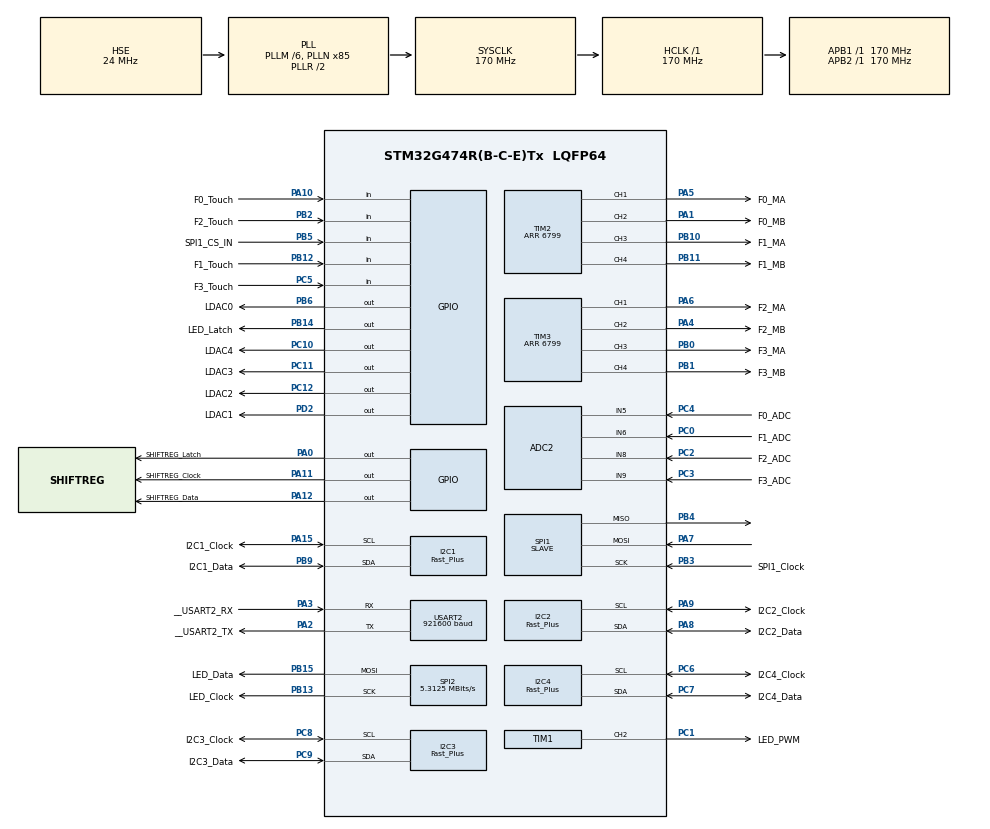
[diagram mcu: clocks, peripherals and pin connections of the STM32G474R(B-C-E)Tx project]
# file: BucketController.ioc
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ADC2.Channel-1\#ChannelRegularConversion=ADC_CHANNEL_5
ADC2.Channel-2\#ChannelRegularConversion=ADC_CHANNEL_6
ADC2.Channel-3\#ChannelRegularConversion=ADC_CHANNEL_8
ADC2.Channel-4\#ChannelRegularConversion=ADC_CHANNEL_9
ADC2.ClockPrescaler=ADC_CLOCK_ASYNC_DIV256
ADC2.ContinuousConvMode=ENABLE
ADC2.DMAContinuousRequests=DISABLE
ADC2.NbrOfConversion=4
ADC2.NbrOfConversionFlag=1
ADC2.OffsetNumber-1\#ChannelRegularConversion=ADC_OFFSET_NONE
ADC2.OffsetNumber-2\#ChannelRegularConversion=ADC_OFFSET_NONE
ADC2.OffsetNumber-3\#ChannelRegularConversion=ADC_OFFSET_NONE
ADC2.OffsetNumber-4\#ChannelRegularConversion=ADC_OFFSET_NONE
ADC2.Rank-1\#ChannelRegularConversion=1
ADC2.Rank-2\#ChannelRegularConversion=2
ADC2.Rank-3\#ChannelRegularConversion=3
ADC2.Rank-4\#ChannelRegularConversion=4
ADC2.SamplingTime-1\#ChannelRegularConversion=ADC_SAMPLETIME_2CYCLES_5
ADC2.SamplingTime-2\#ChannelRegularConversion=ADC_SAMPLETIME_2CYCLES_5
ADC2.SamplingTime-3\#ChannelRegularConversion=ADC_SAMPLETIME_2CYCLES_5
ADC2.SamplingTime-4\#ChannelRegularConversion=ADC_SAMPLETIME_2CYCLES_5
Dma.Request0=SPI2_TX
Dma.SPI2_TX.0.Direction=DMA_MEMORY_TO_PERIPH
Dma.SPI2_TX.0.EventEnable=DISABLE
Dma.SPI2_TX.0.Instance=DMA1_Channel1
Dma.SPI2_TX.0.MemDataAlignment=DMA_MDATAALIGN_BYTE
Dma.SPI2_TX.0.MemInc=DMA_MINC_ENABLE
Dma.SPI2_TX.0.Mode=DMA_NORMAL
Dma.SPI2_TX.0.PeriphDataAlignment=DMA_PDATAALIGN_BYTE
Dma.SPI2_TX.0.PeriphInc=DMA_PINC_DISABLE
Dma.SPI2_TX.0.Polarity=HAL_DMAMUX_REQ_GEN_RISING
Dma.SPI2_TX.0.Priority=DMA_PRIORITY_LOW
Dma.SPI2_TX.0.RequestNumber=1
Dma.SPI2_TX.0.SignalID=NONE
Dma.SPI2_TX.0.SyncEnable=DISABLE
Dma.SPI2_TX.0.SyncPolarity=HAL_DMAMUX_SYNC_NO_EVENT
Dma.SPI2_TX.0.SyncRequestNumber=1
Dma.SPI2_TX.0.SyncSignalID=NONE
FREERTOS.Tasks01=defaultTask,24,128,StartDefaultTask,Default,NULL,Dynamic,NULL,NULL
I2C1.I2C_Speed_Mode=I2C_Fast_Plus
I2C1.Timing=0x4052060F
I2C2.I2C_Speed_Mode=I2C_Fast_Plus
I2C2.Timing=0x4052060F
I2C3.I2C_Speed_Mode=I2C_Fast_Plus
I2C3.Timing=0x4052060F
I2C4.I2C_Speed_Mode=I2C_Fast_Plus
I2C4.Timing=0x4052060F
Mcu.Family=STM32G4
Mcu.Name=STM32G474R(B-C-E)Tx
Mcu.Package=LQFP64
NVIC.DMA1_Channel1_IRQn=true\:5\:0\:false\:false\:true\:true\:false\:true\:true
NVIC.PriorityGroup=NVIC_PRIORITYGROUP_4
NVIC.SPI2_IRQn=true\:5\:0\:false\:false\:true\:true\:true\:true\:true
NVIC.TIM4_IRQn=true\:5\:0\:false\:false\:true\:true\:true\:true\:true
NVIC.TIM5_IRQn=true\:5\:0\:false\:false\:true\:true\:true\:true\:true
NVIC.TIM7_DAC_IRQn=true\:5\:0\:false\:false\:true\:false\:false\:true\:true
NVIC.TimeBase=TIM7_DAC_IRQn
NVIC.TimeBaseIP=TIM7
PA0.GPIO_Label=SHIFTREG_Latch
PA0.Signal=GPIO_Output
PA1.GPIO_Label=F0_MB
PA1.GPIO_Speed=GPIO_SPEED_FREQ_HIGH
PA1.Signal=S_TIM2_CH2
PA10.GPIO_Label=F0_Touch
PA10.Signal=GPIO_Input
PA11.GPIO_Label=SHIFTREG_Clock
PA11.Signal=GPIO_Output
PA12.GPIO_Label=SHIFTREG_Data
PA12.Signal=GPIO_Output
PA13.GPIO_Label=__SWDIO
PA13.Mode=Serial_Wire
PA13.Signal=SYS_JTMS-SWDIO
PA14.GPIO_Label=__SWCLK
PA14.Mode=Serial_Wire
PA14.Signal=SYS_JTCK-SWCLK
PA15.GPIO_Label=I2C1_Clock
PA15.Mode=I2C
PA15.Signal=I2C1_SCL
PA2.GPIO_Label=__USART2_TX
PA2.Mode=Asynchronous
PA2.Signal=USART2_TX
PA3.GPIO_Label=__USART2_RX
PA3.Mode=Asynchronous
PA3.Signal=USART2_RX
PA4.GPIO_Label=F2_MB
PA4.GPIO_Speed=GPIO_SPEED_FREQ_HIGH
PA4.Signal=S_TIM3_CH2
PA5.GPIO_Label=F0_MA
PA5.GPIO_Speed=GPIO_SPEED_FREQ_HIGH
PA5.Signal=S_TIM2_CH1
PA6.GPIO_Label=F2_MA
PA6.GPIO_Speed=GPIO_SPEED_FREQ_HIGH
PA6.Signal=S_TIM3_CH1
PA7.Mode=Full_Duplex_Slave
PA7.Signal=SPI1_MOSI
PA8.GPIO_Label=I2C2_Data
PA8.Mode=I2C
PA8.Signal=I2C2_SDA
PA9.GPIO_Label=I2C2_Clock
PA9.Mode=I2C
PA9.Signal=I2C2_SCL
PB0.GPIO_Label=F3_MA
PB0.GPIO_Speed=GPIO_SPEED_FREQ_HIGH
PB0.Signal=S_TIM3_CH3
PB1.GPIO_Label=F3_MB
PB1.GPIO_Speed=GPIO_SPEED_FREQ_HIGH
PB1.Signal=S_TIM3_CH4
PB10.GPIO_Label=F1_MA
PB10.GPIO_Speed=GPIO_SPEED_FREQ_HIGH
PB10.Signal=S_TIM2_CH3
PB11.GPIO_Label=F1_MB
PB11.GPIO_Speed=GPIO_SPEED_FREQ_HIGH
PB11.Signal=S_TIM2_CH4
PB12.GPIO_Label=F1_Touch
PB12.Signal=GPIO_Input
PB13.GPIO_Label=LED_Clock
PB13.Mode=TX_Only_Simplex_Unidirect_Master
PB13.Signal=SPI2_SCK
PB14.GPIO_Label=LED_Latch
PB14.Signal=GPIO_Output
PB15.GPIO_Label=LED_Data
PB15.Mode=TX_Only_Simplex_Unidirect_Master
PB15.Signal=SPI2_MOSI
PB2.GPIO_Label=F2_Touch
PB2.Signal=GPIO_Input
PB3.GPIO_Label=SPI1_Clock
PB3.Mode=Full_Duplex_Slave
PB3.Signal=SPI1_SCK
PB4.Mode=Full_Duplex_Slave
PB4.Signal=SPI1_MISO
PB5.GPIO_Label=SPI1_CS_IN
PB5.Signal=GPIO_Input
PB6.GPIO_Label=LDAC0
PB6.Signal=GPIO_Output
PB9.GPIO_Label=I2C1_Data
PB9.Mode=I2C
PB9.Signal=I2C1_SDA
PC0.GPIO_Label=F1_ADC
PC0.Mode=IN6-Single-Ended
PC0.Signal=ADC2_IN6
PC1.GPIO_Label=LED_PWM
PC1.Signal=S_TIM1_CH2
PC10.GPIO_Label=LDAC4
PC10.Signal=GPIO_Output
PC11.GPIO_Label=LDAC3
PC11.Signal=GPIO_Output
PC12.GPIO_Label=LDAC2
PC12.Signal=GPIO_Output
PC2.GPIO_Label=F2_ADC
PC2.Mode=IN8-Single-Ended
PC2.Signal=ADC2_IN8
PC3.GPIO_Label=F3_ADC
PC3.Mode=IN9-Single-Ended
PC3.Signal=ADC2_IN9
PC4.GPIO_Label=F0_ADC
PC4.Mode=IN5-Single-Ended
PC4.Signal=ADC2_IN5
PC5.GPIO_Label=F3_Touch
PC5.Signal=GPIO_Input
PC6.GPIO_Label=I2C4_Clock
PC6.Mode=I2C
PC6.Signal=I2C4_SCL
PC7.GPIO_Label=I2C4_Data
PC7.Mode=I2C
PC7.Signal=I2C4_SDA
PC8.GPIO_Label=I2C3_Clock
PC8.Mode=I2C
PC8.Signal=I2C3_SCL
PC9.GPIO_Label=I2C3_Data
PC9.Mode=I2C
PC9.Signal=I2C3_SDA
PD2.GPIO_Label=LDAC1
PD2.Signal=GPIO_Output
PF0-OSC_IN.GPIO_Label=__OSC_IN
PF0-OSC_IN.Mode=HSE-External-Oscillator
PF0-OSC_IN.Signal=RCC_OSC_IN
PF1-OSC_OUT.GPIO_Label=__OSC_OUT
PF1-OSC_OUT.Mode=HSE-External-Oscillator
PF1-OSC_OUT.Signal=RCC_OSC_OUT
ProjectManager.HeapSize=0x200
ProjectManager.StackSize=0x400
ProjectManager.TargetToolchain=CMake
RCC.ADC12Freq_Value=170000000
RCC.ADC345Freq_Value=170000000
RCC.AHBFreq_Value=170000000
RCC.APB1Freq_Value=170000000
RCC.APB1TimFreq_Value=170000000
RCC.APB2Freq_Value=170000000
RCC.APB2TimFreq_Value=170000000
RCC.CK48CLockSelection=RCC_USBCLKSOURCE_HSI48
RCC.CortexFreq_Value=170000000
RCC.EXTERNAL_CLOCK_VALUE=12288000
RCC.HCLKFreq_Value=170000000
RCC.HSE_VALUE=24000000
RCC.HSI48_VALUE=48000000
RCC.HSI_VALUE=16000000
RCC.LSE_VALUE=32768
RCC.PLLM=RCC_PLLM_DIV6
RCC.PLLN=85
RCC.PLLP=RCC_PLLP_DIV6
RCC.PLLQ=RCC_PLLQ_DIV4
RCC.PLLSourceVirtual=RCC_PLLSOURCE_HSE
RCC.SYSCLKFreq_VALUE=170000000
RCC.SYSCLKSource=RCC_SYSCLKSOURCE_PLLCLK
RCC.USBFreq_Value=48000000
RCC.VCOOutputFreq_Value=340000000
SH.S_TIM1_CH2.0=TIM1_CH2,PWM Generation2 CH2
SH.S_TIM2_CH1.0=TIM2_CH1,PWM Generation1 CH1
SH.S_TIM2_CH2.0=TIM2_CH2,PWM Generation2 CH2
SH.S_TIM2_CH3.0=TIM2_CH3,PWM Generation3 CH3
SH.S_TIM2_CH4.0=TIM2_CH4,PWM Generation4 CH4
SH.S_TIM3_CH1.0=TIM3_CH1,PWM Generation1 CH1
SH.S_TIM3_CH2.0=TIM3_CH2,PWM Generation2 CH2
SH.S_TIM3_CH3.0=TIM3_CH3,PWM Generation3 CH3
SH.S_TIM3_CH4.0=TIM3_CH4,PWM Generation4 CH4
SPI1.Direction=SPI_DIRECTION_2LINES
SPI1.Mode=SPI_MODE_SLAVE
SPI1.VirtualType=VM_SLAVE
SPI2.BaudRatePrescaler=SPI_BAUDRATEPRESCALER_32
SPI2.CalculateBaudRate=5.3125 MBits/s
SPI2.DataSize=SPI_DATASIZE_8BIT
SPI2.Direction=SPI_DIRECTION_2LINES
SPI2.Mode=SPI_MODE_MASTER
SPI2.VirtualType=VM_MASTER
TIM1.Channel-PWM\ Generation2\ CH2=TIM_CHANNEL_2
TIM1.PeriodNoDither=6799
TIM2.Channel-PWM\ Generation1\ CH1=TIM_CHANNEL_1
TIM2.Channel-PWM\ Generation2\ CH2=TIM_CHANNEL_2
TIM2.Channel-PWM\ Generation3\ CH3=TIM_CHANNEL_3
TIM2.Channel-PWM\ Generation4\ CH4=TIM_CHANNEL_4
TIM2.OCPolarity_1=TIM_OCPOLARITY_HIGH
TIM2.OCPolarity_2=TIM_OCPOLARITY_HIGH
TIM2.PeriodNoDither=6799
TIM3.Channel-PWM\ Generation1\ CH1=TIM_CHANNEL_1
TIM3.Channel-PWM\ Generation2\ CH2=TIM_CHANNEL_2
TIM3.Channel-PWM\ Generation3\ CH3=TIM_CHANNEL_3
TIM3.Channel-PWM\ Generation4\ CH4=TIM_CHANNEL_4
TIM3.PeriodNoDither=6799
TIM4.PeriodNoDither=666
TIM4.Prescaler=169
TIM5.PeriodNoDither=8332
TIM5.Prescaler=169
USART2.BaudRate=921600
USART2.VirtualMode-Asynchronous=VM_ASYNC
VP_DAC3_VS_DACI1.Mode=DAC_OUT1_Int
VP_FREERTOS_VS_CMSIS_V2.Mode=CMSIS_V2
VP_SYS_VS_DBSignals.Mode=DisableDeadBatterySignals
VP_SYS_VS_tim7.Mode=TIM7
VP_TIM2_VS_ClockSourceINT.Mode=Internal
VP_TIM3_VS_ClockSourceINT.Mode=Internal
VP_TIM4_VS_ClockSourceINT.Mode=Internal
VP_TIM5_VS_ClockSourceINT.Mode=Internal
board=custom

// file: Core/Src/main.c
/* USER CODE BEGIN Header */
/**
  ******************************************************************************
  * @file           : main.c
  * @brief          : Main program body
  ******************************************************************************
  * @attention
  *
  * Copyright (c) 2026 STMicroelectronics.
  * All rights reserved.
  *
  * This software is licensed under terms that can be found in the LICENSE file
  * in the root directory of this software component.
  * If no LICENSE file comes with this software, it is provided AS-IS.
  *
  ******************************************************************************
  */
/* USER CODE END Header */
#include "main.h"
#include "cmsis_os.h"

/* USER CODE BEGIN Includes */

#include <stdio.h>

// Skylar
#include "CONFIG.h"
#include "cmsis_os2.h"
#include "control_integration/control_interface.h"
#include "hardware_drivers/fader_driver.h"
#include "hardware_drivers/i2c_driver.h"
#include "hardware_drivers/mcp23017.h"
#include "hardware_drivers/mcp4728.h"
#include "hardware_drivers/mcp4728_cache.h"
#include "hardware_drivers/rotary_encoder.h"
#include "hardware_drivers/led_driver.h"
#include "hardware_drivers/74hc595.h"
#include "portmacro.h"
#include "projdefs.h"
#include "stm32g474xx.h"
#include "FreeRTOS_apps/remote_cmd_handler.h"
#include "FreeRTOS_apps/led_handler.h"
#include "FreeRTOS_apps/i2c_scheduler.h"
#include "FreeRTOS_apps/fader_poller.h"
#include "stm32g4xx_hal.h"

/* USER CODE END Includes */

ADC_HandleTypeDef hadc2;

DAC_HandleTypeDef hdac3;

I2C_HandleTypeDef hi2c1;
I2C_HandleTypeDef hi2c2;
I2C_HandleTypeDef hi2c3;
I2C_HandleTypeDef hi2c4;

SPI_HandleTypeDef hspi1;
SPI_HandleTypeDef hspi2;
DMA_HandleTypeDef hdma_spi2_tx;

TIM_HandleTypeDef htim1;
TIM_HandleTypeDef htim2;
TIM_HandleTypeDef htim3;
TIM_HandleTypeDef htim4;
TIM_HandleTypeDef htim5;

UART_HandleTypeDef huart2;

/* Definitions for defaultTask */
osThreadId_t defaultTaskHandle;
const osThreadAttr_t defaultTask_attributes = {
  .name = "defaultTask",
  .priority = (osPriority_t) osPriorityNormal,
  .stack_size = 128 * 4
};

void SystemClock_Config(void);
static void MX_GPIO_Init(void);
static void MX_DMA_Init(void);
static void MX_I2C1_Init(void);
static void MX_I2C2_Init(void);
static void MX_I2C4_Init(void);
static void MX_TIM2_Init(void);
static void MX_TIM3_Init(void);
static void MX_TIM1_Init(void);
static void MX_USART2_UART_Init(void);
static void MX_I2C3_Init(void);
static void MX_SPI1_Init(void);
static void MX_ADC2_Init(void);
static void MX_DAC3_Init(void);
static void MX_TIM4_Init(void);
static void MX_TIM5_Init(void);
static void MX_SPI2_Init(void);
void StartDefaultTask(void *argument);

/* USER CODE BEGIN 0 */

// start usart2 usb debug
// picocom -b 115200 /dev/cu.usbmodem#####
int __io_putchar(int ch)
{
  if (DEVELOPER_MODE)
  {
    HAL_UART_Transmit(&REMOTE_UART_HANDLE, (uint8_t *)&ch, 1, 100);
  }
  return ch;
}

/* USER CODE END 0 */

int main(void)
{

  /* MCU Configuration--------------------------------------------------------*/

  /* Reset of all peripherals, Initializes the Flash interface and the Systick. */
  HAL_Init();

  /* Configure the system clock */
  SystemClock_Config();

  /* Initialize all configured peripherals */
  MX_GPIO_Init();
  MX_DMA_Init();
  MX_I2C1_Init();
  MX_I2C2_Init();
  MX_I2C4_Init();
  MX_TIM2_Init();
  MX_TIM3_Init();
  MX_TIM1_Init();
  MX_USART2_UART_Init();
  MX_I2C3_Init();
  MX_SPI1_Init();
  MX_ADC2_Init();
  MX_DAC3_Init();
  MX_TIM4_Init();
  MX_TIM5_Init();
  MX_SPI2_Init();
  /* USER CODE BEGIN 2 */

  /*=============================== STARTUP HARDWARE INITIALIZATION ================================*/

  if(DEVELOPER_MODE)
  {
    setvbuf(stdout, NULL, _IONBF, 0); // make lines never disappear on the remote UART
  }

  i2c_init(); // i2c startup

  if(DEVELOPER_MODE)
  {
    printf("\r\n\n\n\n\n\n\n\n\n*******************************************************\r\n");
    printf("Initializing Bucket Controller...\r\n    Build %s %s \r\n\nBEGIN debug log:\r\n", __DATE__, __TIME__);
    printf("*******************************************************\r\n");

    i2c_probeall();
  }

  uart_cmd_init(); // uart2 startup for comms w/ remote app

  led_init(); // PLEASE keep led_init before init_control_interface. otherwise control hardware gets set to nullptrs and we have no LEDs
  init_control_interface();
  shiftreg_init();

  led_brightness(10);

  // I2C DEVICES INIT
  mcp23017_init(i2c_channel_bus(0), 0x20);
  mcp4728_init_settings(i2c_channel_bus(0), 0x61);

  if(DEVELOPER_MODE)
  {
  led_print_config();

  printf("\r\n*******************************************************\n");
  }

  /*=============================== END STARTUP HARDWARE INITIALIZATION ================================*/

  /* USER CODE END 2 */

  /* Init scheduler */
  osKernelInitialize();

  /* Create the thread(s) */
  /* creation of defaultTask */
  defaultTaskHandle = osThreadNew(StartDefaultTask, NULL, &defaultTask_attributes);

  /* USER CODE BEGIN RTOS_THREADS */

  init_led_handler(); // start LED frame renderer
  init_i2c_scheduler();
  init_fader_poller();
  init_faders();

  /* USER CODE END RTOS_THREADS */

  /* Start scheduler */
  osKernelStart();

  /* We should never get here as control is now taken by the scheduler */

  /* Infinite loop */
  while (1)
  {

  }
}

void SystemClock_Config(void)
{
  RCC_OscInitTypeDef RCC_OscInitStruct = {0};
  RCC_ClkInitTypeDef RCC_ClkInitStruct = {0};

  /** Configure the main internal regulator output voltage
  */
  HAL_PWREx_ControlVoltageScaling(PWR_REGULATOR_VOLTAGE_SCALE1_BOOST);

  /** Initializes the RCC Oscillators according to the specified parameters
  * in the RCC_OscInitTypeDef structure.
  */
  RCC_OscInitStruct.OscillatorType = RCC_OSCILLATORTYPE_HSE;
  RCC_OscInitStruct.HSEState = RCC_HSE_ON;
  RCC_OscInitStruct.PLL.PLLState = RCC_PLL_ON;
  RCC_OscInitStruct.PLL.PLLSource = RCC_PLLSOURCE_HSE;
  RCC_OscInitStruct.PLL.PLLM = RCC_PLLM_DIV6;
  RCC_OscInitStruct.PLL.PLLN = 85;
  RCC_OscInitStruct.PLL.PLLP = RCC_PLLP_DIV6;
  RCC_OscInitStruct.PLL.PLLQ = RCC_PLLQ_DIV4;
  RCC_OscInitStruct.PLL.PLLR = RCC_PLLR_DIV2;
  if (HAL_RCC_OscConfig(&RCC_OscInitStruct) != HAL_OK)
  {
    Error_Handler();
  }

  /** Initializes the CPU, AHB and APB buses clocks
  */
  RCC_ClkInitStruct.ClockType = RCC_CLOCKTYPE_HCLK|RCC_CLOCKTYPE_SYSCLK
                              |RCC_CLOCKTYPE_PCLK1|RCC_CLOCKTYPE_PCLK2;
  RCC_ClkInitStruct.SYSCLKSource = RCC_SYSCLKSOURCE_PLLCLK;
  RCC_ClkInitStruct.AHBCLKDivider = RCC_SYSCLK_DIV1;
  RCC_ClkInitStruct.APB1CLKDivider = RCC_HCLK_DIV1;
  RCC_ClkInitStruct.APB2CLKDivider = RCC_HCLK_DIV1;

  if (HAL_RCC_ClockConfig(&RCC_ClkInitStruct, FLASH_LATENCY_4) != HAL_OK)
  {
    Error_Handler();
  }
}

static void MX_ADC2_Init(void)
{

  ADC_ChannelConfTypeDef sConfig = {0};

  /** Common config
  */
  hadc2.Instance = ADC2;
  hadc2.Init.ClockPrescaler = ADC_CLOCK_ASYNC_DIV256;
  hadc2.Init.Resolution = ADC_RESOLUTION_12B;
  hadc2.Init.DataAlign = ADC_DATAALIGN_RIGHT;
  hadc2.Init.GainCompensation = 0;
  hadc2.Init.ScanConvMode = ADC_SCAN_ENABLE;
  hadc2.Init.EOCSelection = ADC_EOC_SINGLE_CONV;
  hadc2.Init.LowPowerAutoWait = DISABLE;
  hadc2.Init.ContinuousConvMode = ENABLE;
  hadc2.Init.NbrOfConversion = 4;
  hadc2.Init.DiscontinuousConvMode = DISABLE;
  hadc2.Init.ExternalTrigConv = ADC_SOFTWARE_START;
  hadc2.Init.ExternalTrigConvEdge = ADC_EXTERNALTRIGCONVEDGE_NONE;
  hadc2.Init.DMAContinuousRequests = DISABLE;
  hadc2.Init.Overrun = ADC_OVR_DATA_PRESERVED;
  hadc2.Init.OversamplingMode = DISABLE;
  if (HAL_ADC_Init(&hadc2) != HAL_OK)
  {
    Error_Handler();
  }

  /** Configure Regular Channel
  */
  sConfig.Channel = ADC_CHANNEL_5;
  sConfig.Rank = ADC_REGULAR_RANK_1;
  sConfig.SamplingTime = ADC_SAMPLETIME_2CYCLES_5;
  sConfig.SingleDiff = ADC_SINGLE_ENDED;
  sConfig.OffsetNumber = ADC_OFFSET_NONE;
  sConfig.Offset = 0;
  if (HAL_ADC_ConfigChannel(&hadc2, &sConfig) != HAL_OK)
  {
    Error_Handler();
  }

  /** Configure Regular Channel
  */
  sConfig.Channel = ADC_CHANNEL_6;
  sConfig.Rank = ADC_REGULAR_RANK_2;
  if (HAL_ADC_ConfigChannel(&hadc2, &sConfig) != HAL_OK)
  {
    Error_Handler();
  }

  /** Configure Regular Channel
  */
  sConfig.Channel = ADC_CHANNEL_8;
  sConfig.Rank = ADC_REGULAR_RANK_3;
  if (HAL_ADC_ConfigChannel(&hadc2, &sConfig) != HAL_OK)
  {
    Error_Handler();
  }

  /** Configure Regular Channel
  */
  sConfig.Channel = ADC_CHANNEL_9;
  sConfig.Rank = ADC_REGULAR_RANK_4;
  if (HAL_ADC_ConfigChannel(&hadc2, &sConfig) != HAL_OK)
  {
    Error_Handler();
  }

}

static void MX_DAC3_Init(void)
{

  DAC_ChannelConfTypeDef sConfig = {0};

  /** DAC Initialization
  */
  hdac3.Instance = DAC3;
  if (HAL_DAC_Init(&hdac3) != HAL_OK)
  {
    Error_Handler();
  }

  /** DAC channel OUT1 config
  */
  sConfig.DAC_HighFrequency = DAC_HIGH_FREQUENCY_INTERFACE_MODE_AUTOMATIC;
  sConfig.DAC_DMADoubleDataMode = DISABLE;
  sConfig.DAC_SignedFormat = DISABLE;
  sConfig.DAC_SampleAndHold = DAC_SAMPLEANDHOLD_DISABLE;
  sConfig.DAC_Trigger = DAC_TRIGGER_NONE;
  sConfig.DAC_Trigger2 = DAC_TRIGGER_NONE;
  sConfig.DAC_OutputBuffer = DAC_OUTPUTBUFFER_DISABLE;
  sConfig.DAC_ConnectOnChipPeripheral = DAC_CHIPCONNECT_INTERNAL;
  sConfig.DAC_UserTrimming = DAC_TRIMMING_FACTORY;
  if (HAL_DAC_ConfigChannel(&hdac3, &sConfig, DAC_CHANNEL_1) != HAL_OK)
  {
    Error_Handler();
  }

}

static void MX_I2C1_Init(void)
{

  hi2c1.Instance = I2C1;
  hi2c1.Init.Timing = 0x4052060F;
  hi2c1.Init.OwnAddress1 = 0;
  hi2c1.Init.AddressingMode = I2C_ADDRESSINGMODE_7BIT;
  hi2c1.Init.DualAddressMode = I2C_DUALADDRESS_DISABLE;
  hi2c1.Init.OwnAddress2 = 0;
  hi2c1.Init.OwnAddress2Masks = I2C_OA2_NOMASK;
  hi2c1.Init.GeneralCallMode = I2C_GENERALCALL_DISABLE;
  hi2c1.Init.NoStretchMode = I2C_NOSTRETCH_DISABLE;
  if (HAL_I2C_Init(&hi2c1) != HAL_OK)
  {
    Error_Handler();
  }

  /** Configure Analogue filter
  */
  if (HAL_I2CEx_ConfigAnalogFilter(&hi2c1, I2C_ANALOGFILTER_ENABLE) != HAL_OK)
  {
    Error_Handler();
  }

  /** Configure Digital filter
  */
  if (HAL_I2CEx_ConfigDigitalFilter(&hi2c1, 0) != HAL_OK)
  {
    Error_Handler();
  }

  /** I2C Fast mode Plus enable
  */
  HAL_I2CEx_EnableFastModePlus(I2C_FASTMODEPLUS_I2C1);

}

static void MX_I2C2_Init(void)
{

  hi2c2.Instance = I2C2;
  hi2c2.Init.Timing = 0x4052060F;
  hi2c2.Init.OwnAddress1 = 0;
  hi2c2.Init.AddressingMode = I2C_ADDRESSINGMODE_7BIT;
  hi2c2.Init.DualAddressMode = I2C_DUALADDRESS_DISABLE;
  hi2c2.Init.OwnAddress2 = 0;
  hi2c2.Init.OwnAddress2Masks = I2C_OA2_NOMASK;
  hi2c2.Init.GeneralCallMode = I2C_GENERALCALL_DISABLE;
  hi2c2.Init.NoStretchMode = I2C_NOSTRETCH_DISABLE;
  if (HAL_I2C_Init(&hi2c2) != HAL_OK)
  {
    Error_Handler();
  }

  /** Configure Analogue filter
  */
  if (HAL_I2CEx_ConfigAnalogFilter(&hi2c2, I2C_ANALOGFILTER_ENABLE) != HAL_OK)
  {
    Error_Handler();
  }

  /** Configure Digital filter
  */
  if (HAL_I2CEx_ConfigDigitalFilter(&hi2c2, 0) != HAL_OK)
  {
    Error_Handler();
  }

  /** I2C Fast mode Plus enable
  */
  HAL_I2CEx_EnableFastModePlus(I2C_FASTMODEPLUS_I2C2);

}

static void MX_I2C3_Init(void)
{

  hi2c3.Instance = I2C3;
  hi2c3.Init.Timing = 0x4052060F;
  hi2c3.Init.OwnAddress1 = 0;
  hi2c3.Init.AddressingMode = I2C_ADDRESSINGMODE_7BIT;
  hi2c3.Init.DualAddressMode = I2C_DUALADDRESS_DISABLE;
  hi2c3.Init.OwnAddress2 = 0;
  hi2c3.Init.OwnAddress2Masks = I2C_OA2_NOMASK;
  hi2c3.Init.GeneralCallMode = I2C_GENERALCALL_DISABLE;
  hi2c3.Init.NoStretchMode = I2C_NOSTRETCH_DISABLE;
  if (HAL_I2C_Init(&hi2c3) != HAL_OK)
  {
    Error_Handler();
  }

  /** Configure Analogue filter
  */
  if (HAL_I2CEx_ConfigAnalogFilter(&hi2c3, I2C_ANALOGFILTER_ENABLE) != HAL_OK)
  {
    Error_Handler();
  }

  /** Configure Digital filter
  */
  if (HAL_I2CEx_ConfigDigitalFilter(&hi2c3, 0) != HAL_OK)
  {
    Error_Handler();
  }

  /** I2C Fast mode Plus enable
  */
  HAL_I2CEx_EnableFastModePlus(I2C_FASTMODEPLUS_I2C3);

}

static void MX_I2C4_Init(void)
{

  hi2c4.Instance = I2C4;
  hi2c4.Init.Timing = 0x4052060F;
  hi2c4.Init.OwnAddress1 = 0;
  hi2c4.Init.AddressingMode = I2C_ADDRESSINGMODE_7BIT;
  hi2c4.Init.DualAddressMode = I2C_DUALADDRESS_DISABLE;
  hi2c4.Init.OwnAddress2 = 0;
  hi2c4.Init.OwnAddress2Masks = I2C_OA2_NOMASK;
  hi2c4.Init.GeneralCallMode = I2C_GENERALCALL_DISABLE;
  hi2c4.Init.NoStretchMode = I2C_NOSTRETCH_DISABLE;
  if (HAL_I2C_Init(&hi2c4) != HAL_OK)
  {
    Error_Handler();
  }

  /** Configure Analogue filter
  */
  if (HAL_I2CEx_ConfigAnalogFilter(&hi2c4, I2C_ANALOGFILTER_ENABLE) != HAL_OK)
  {
    Error_Handler();
  }

  /** Configure Digital filter
  */
  if (HAL_I2CEx_ConfigDigitalFilter(&hi2c4, 0) != HAL_OK)
  {
    Error_Handler();
  }

  /** I2C Fast mode Plus enable
  */
  HAL_I2CEx_EnableFastModePlus(I2C_FASTMODEPLUS_I2C4);

}

static void MX_SPI1_Init(void)
{

  /* SPI1 parameter configuration*/
  hspi1.Instance = SPI1;
  hspi1.Init.Mode = SPI_MODE_SLAVE;
  hspi1.Init.Direction = SPI_DIRECTION_2LINES;
  hspi1.Init.DataSize = SPI_DATASIZE_4BIT;
  hspi1.Init.CLKPolarity = SPI_POLARITY_LOW;
  hspi1.Init.CLKPhase = SPI_PHASE_1EDGE;
  hspi1.Init.NSS = SPI_NSS_SOFT;
  hspi1.Init.FirstBit = SPI_FIRSTBIT_MSB;
  hspi1.Init.TIMode = SPI_TIMODE_DISABLE;
  hspi1.Init.CRCCalculation = SPI_CRCCALCULATION_DISABLE;
  hspi1.Init.CRCPolynomial = 7;
  hspi1.Init.CRCLength = SPI_CRC_LENGTH_DATASIZE;
  hspi1.Init.NSSPMode = SPI_NSS_PULSE_DISABLE;
  if (HAL_SPI_Init(&hspi1) != HAL_OK)
  {
    Error_Handler();
  }

}

static void MX_SPI2_Init(void)
{

  /* SPI2 parameter configuration*/
  hspi2.Instance = SPI2;
  hspi2.Init.Mode = SPI_MODE_MASTER;
  hspi2.Init.Direction = SPI_DIRECTION_2LINES;
  hspi2.Init.DataSize = SPI_DATASIZE_8BIT;
  hspi2.Init.CLKPolarity = SPI_POLARITY_LOW;
  hspi2.Init.CLKPhase = SPI_PHASE_1EDGE;
  hspi2.Init.NSS = SPI_NSS_SOFT;
  hspi2.Init.BaudRatePrescaler = SPI_BAUDRATEPRESCALER_32;
  hspi2.Init.FirstBit = SPI_FIRSTBIT_MSB;
  hspi2.Init.TIMode = SPI_TIMODE_DISABLE;
  hspi2.Init.CRCCalculation = SPI_CRCCALCULATION_DISABLE;
  hspi2.Init.CRCPolynomial = 7;
  hspi2.Init.CRCLength = SPI_CRC_LENGTH_DATASIZE;
  hspi2.Init.NSSPMode = SPI_NSS_PULSE_ENABLE;
  if (HAL_SPI_Init(&hspi2) != HAL_OK)
  {
    Error_Handler();
  }

}

static void MX_TIM1_Init(void)
{

  TIM_MasterConfigTypeDef sMasterConfig = {0};
  TIM_OC_InitTypeDef sConfigOC = {0};
  TIM_BreakDeadTimeConfigTypeDef sBreakDeadTimeConfig = {0};

  htim1.Instance = TIM1;
  htim1.Init.Prescaler = 0;
  htim1.Init.CounterMode = TIM_COUNTERMODE_UP;
  htim1.Init.Period = 6799;
  htim1.Init.ClockDivision = TIM_CLOCKDIVISION_DIV1;
  htim1.Init.RepetitionCounter = 0;
  htim1.Init.AutoReloadPreload = TIM_AUTORELOAD_PRELOAD_DISABLE;
  if (HAL_TIM_PWM_Init(&htim1) != HAL_OK)
  {
    Error_Handler();
  }
  sMasterConfig.MasterOutputTrigger = TIM_TRGO_RESET;
  sMasterConfig.MasterOutputTrigger2 = TIM_TRGO2_RESET;
  sMasterConfig.MasterSlaveMode = TIM_MASTERSLAVEMODE_DISABLE;
  if (HAL_TIMEx_MasterConfigSynchronization(&htim1, &sMasterConfig) != HAL_OK)
  {
    Error_Handler();
  }
  sConfigOC.OCMode = TIM_OCMODE_PWM1;
  sConfigOC.Pulse = 0;
  sConfigOC.OCPolarity = TIM_OCPOLARITY_HIGH;
  sConfigOC.OCNPolarity = TIM_OCNPOLARITY_HIGH;
  sConfigOC.OCFastMode = TIM_OCFAST_DISABLE;
  sConfigOC.OCIdleState = TIM_OCIDLESTATE_RESET;
  sConfigOC.OCNIdleState = TIM_OCNIDLESTATE_RESET;
  if (HAL_TIM_PWM_ConfigChannel(&htim1, &sConfigOC, TIM_CHANNEL_2) != HAL_OK)
  {
    Error_Handler();
  }
  sBreakDeadTimeConfig.OffStateRunMode = TIM_OSSR_DISABLE;
  sBreakDeadTimeConfig.OffStateIDLEMode = TIM_OSSI_DISABLE;
  sBreakDeadTimeConfig.LockLevel = TIM_LOCKLEVEL_OFF;
  sBreakDeadTimeConfig.DeadTime = 0;
  sBreakDeadTimeConfig.BreakState = TIM_BREAK_DISABLE;
  sBreakDeadTimeConfig.BreakPolarity = TIM_BREAKPOLARITY_HIGH;
  sBreakDeadTimeConfig.BreakFilter = 0;
  sBreakDeadTimeConfig.BreakAFMode = TIM_BREAK_AFMODE_INPUT;
  sBreakDeadTimeConfig.Break2State = TIM_BREAK2_DISABLE;
  sBreakDeadTimeConfig.Break2Polarity = TIM_BREAK2POLARITY_HIGH;
  sBreakDeadTimeConfig.Break2Filter = 0;
  sBreakDeadTimeConfig.Break2AFMode = TIM_BREAK_AFMODE_INPUT;
  sBreakDeadTimeConfig.AutomaticOutput = TIM_AUTOMATICOUTPUT_DISABLE;
  if (HAL_TIMEx_ConfigBreakDeadTime(&htim1, &sBreakDeadTimeConfig) != HAL_OK)
  {
    Error_Handler();
  }
  HAL_TIM_MspPostInit(&htim1);

}

static void MX_TIM2_Init(void)
{

  TIM_ClockConfigTypeDef sClockSourceConfig = {0};
  TIM_MasterConfigTypeDef sMasterConfig = {0};
  TIM_OC_InitTypeDef sConfigOC = {0};

  htim2.Instance = TIM2;
  htim2.Init.Prescaler = 0;
  htim2.Init.CounterMode = TIM_COUNTERMODE_UP;
  htim2.Init.Period = 6799;
  htim2.Init.ClockDivision = TIM_CLOCKDIVISION_DIV1;
  htim2.Init.AutoReloadPreload = TIM_AUTORELOAD_PRELOAD_DISABLE;
  if (HAL_TIM_Base_Init(&htim2) != HAL_OK)
  {
    Error_Handler();
  }
  sClockSourceConfig.ClockSource = TIM_CLOCKSOURCE_INTERNAL;
  if (HAL_TIM_ConfigClockSource(&htim2, &sClockSourceConfig) != HAL_OK)
  {
    Error_Handler();
  }
  if (HAL_TIM_PWM_Init(&htim2) != HAL_OK)
  {
    Error_Handler();
  }
  sMasterConfig.MasterOutputTrigger = TIM_TRGO_RESET;
  sMasterConfig.MasterSlaveMode = TIM_MASTERSLAVEMODE_DISABLE;
  if (HAL_TIMEx_MasterConfigSynchronization(&htim2, &sMasterConfig) != HAL_OK)
  {
    Error_Handler();
  }
  sConfigOC.OCMode = TIM_OCMODE_PWM1;
  sConfigOC.Pulse = 0;
  sConfigOC.OCPolarity = TIM_OCPOLARITY_HIGH;
  sConfigOC.OCFastMode = TIM_OCFAST_DISABLE;
  if (HAL_TIM_PWM_ConfigChannel(&htim2, &sConfigOC, TIM_CHANNEL_1) != HAL_OK)
  {
    Error_Handler();
  }
  if (HAL_TIM_PWM_ConfigChannel(&htim2, &sConfigOC, TIM_CHANNEL_2) != HAL_OK)
  {
    Error_Handler();
  }
  if (HAL_TIM_PWM_ConfigChannel(&htim2, &sConfigOC, TIM_CHANNEL_3) != HAL_OK)
  {
    Error_Handler();
  }
  if (HAL_TIM_PWM_ConfigChannel(&htim2, &sConfigOC, TIM_CHANNEL_4) != HAL_OK)
  {
    Error_Handler();
  }
  HAL_TIM_MspPostInit(&htim2);

}

static void MX_TIM3_Init(void)
{

  TIM_ClockConfigTypeDef sClockSourceConfig = {0};
  TIM_MasterConfigTypeDef sMasterConfig = {0};
  TIM_OC_InitTypeDef sConfigOC = {0};

  htim3.Instance = TIM3;
  htim3.Init.Prescaler = 0;
  htim3.Init.CounterMode = TIM_COUNTERMODE_UP;
  htim3.Init.Period = 6799;
  htim3.Init.ClockDivision = TIM_CLOCKDIVISION_DIV1;
  htim3.Init.AutoReloadPreload = TIM_AUTORELOAD_PRELOAD_DISABLE;
  if (HAL_TIM_Base_Init(&htim3) != HAL_OK)
  {
    Error_Handler();
  }
  sClockSourceConfig.ClockSource = TIM_CLOCKSOURCE_INTERNAL;
  if (HAL_TIM_ConfigClockSource(&htim3, &sClockSourceConfig) != HAL_OK)
  {
    Error_Handler();
  }
  if (HAL_TIM_PWM_Init(&htim3) != HAL_OK)
  {
    Error_Handler();
  }
  sMasterConfig.MasterOutputTrigger = TIM_TRGO_RESET;
  sMasterConfig.MasterSlaveMode = TIM_MASTERSLAVEMODE_DISABLE;
  if (HAL_TIMEx_MasterConfigSynchronization(&htim3, &sMasterConfig) != HAL_OK)
  {
    Error_Handler();
  }
  sConfigOC.OCMode = TIM_OCMODE_PWM1;
  sConfigOC.Pulse = 0;
  sConfigOC.OCPolarity = TIM_OCPOLARITY_HIGH;
  sConfigOC.OCFastMode = TIM_OCFAST_DISABLE;
  if (HAL_TIM_PWM_ConfigChannel(&htim3, &sConfigOC, TIM_CHANNEL_1) != HAL_OK)
  {
    Error_Handler();
  }
  if (HAL_TIM_PWM_ConfigChannel(&htim3, &sConfigOC, TIM_CHANNEL_2) != HAL_OK)
  {
    Error_Handler();
  }
  if (HAL_TIM_PWM_ConfigChannel(&htim3, &sConfigOC, TIM_CHANNEL_3) != HAL_OK)
  {
    Error_Handler();
  }
  if (HAL_TIM_PWM_ConfigChannel(&htim3, &sConfigOC, TIM_CHANNEL_4) != HAL_OK)
  {
    Error_Handler();
  }
  HAL_TIM_MspPostInit(&htim3);

}

static void MX_TIM4_Init(void)
{

  TIM_ClockConfigTypeDef sClockSourceConfig = {0};
  TIM_MasterConfigTypeDef sMasterConfig = {0};

  htim4.Instance = TIM4;
  htim4.Init.Prescaler = 169;
  htim4.Init.CounterMode = TIM_COUNTERMODE_UP;
  htim4.Init.Period = 666;
  htim4.Init.ClockDivision = TIM_CLOCKDIVISION_DIV1;
  htim4.Init.AutoReloadPreload = TIM_AUTORELOAD_PRELOAD_DISABLE;
  if (HAL_TIM_Base_Init(&htim4) != HAL_OK)
  {
    Error_Handler();
  }
  sClockSourceConfig.ClockSource = TIM_CLOCKSOURCE_INTERNAL;
  if (HAL_TIM_ConfigClockSource(&htim4, &sClockSourceConfig) != HAL_OK)
  {
    Error_Handler();
  }
  sMasterConfig.MasterOutputTrigger = TIM_TRGO_RESET;
  sMasterConfig.MasterSlaveMode = TIM_MASTERSLAVEMODE_DISABLE;
  if (HAL_TIMEx_MasterConfigSynchronization(&htim4, &sMasterConfig) != HAL_OK)
  {
    Error_Handler();
  }

}

static void MX_TIM5_Init(void)
{

  TIM_ClockConfigTypeDef sClockSourceConfig = {0};
  TIM_MasterConfigTypeDef sMasterConfig = {0};

  htim5.Instance = TIM5;
  htim5.Init.Prescaler = 169;
  htim5.Init.CounterMode = TIM_COUNTERMODE_UP;
  htim5.Init.Period = 8332;
  htim5.Init.ClockDivision = TIM_CLOCKDIVISION_DIV1;
  htim5.Init.AutoReloadPreload = TIM_AUTORELOAD_PRELOAD_DISABLE;
  if (HAL_TIM_Base_Init(&htim5) != HAL_OK)
  {
    Error_Handler();
  }
  sClockSourceConfig.ClockSource = TIM_CLOCKSOURCE_INTERNAL;
  if (HAL_TIM_ConfigClockSource(&htim5, &sClockSourceConfig) != HAL_OK)
  {
    Error_Handler();
  }
  sMasterConfig.MasterOutputTrigger = TIM_TRGO_RESET;
  sMasterConfig.MasterSlaveMode = TIM_MASTERSLAVEMODE_DISABLE;
  if (HAL_TIMEx_MasterConfigSynchronization(&htim5, &sMasterConfig) != HAL_OK)
  {
    Error_Handler();
  }

}

static void MX_USART2_UART_Init(void)
{

  huart2.Instance = USART2;
  huart2.Init.BaudRate = 921600;
  huart2.Init.WordLength = UART_WORDLENGTH_8B;
  huart2.Init.StopBits = UART_STOPBITS_1;
  huart2.Init.Parity = UART_PARITY_NONE;
  huart2.Init.Mode = UART_MODE_TX_RX;
  huart2.Init.HwFlowCtl = UART_HWCONTROL_NONE;
  huart2.Init.OverSampling = UART_OVERSAMPLING_16;
  huart2.Init.OneBitSampling = UART_ONE_BIT_SAMPLE_DISABLE;
  huart2.Init.ClockPrescaler = UART_PRESCALER_DIV1;
  huart2.AdvancedInit.AdvFeatureInit = UART_ADVFEATURE_NO_INIT;
  if (HAL_UART_Init(&huart2) != HAL_OK)
  {
    Error_Handler();
  }
  if (HAL_UARTEx_SetTxFifoThreshold(&huart2, UART_TXFIFO_THRESHOLD_1_8) != HAL_OK)
  {
    Error_Handler();
  }
  if (HAL_UARTEx_SetRxFifoThreshold(&huart2, UART_RXFIFO_THRESHOLD_1_8) != HAL_OK)
  {
    Error_Handler();
  }
  if (HAL_UARTEx_DisableFifoMode(&huart2) != HAL_OK)
  {
    Error_Handler();
  }

}

static void MX_DMA_Init(void)
{

  /* DMA controller clock enable */
  __HAL_RCC_DMAMUX1_CLK_ENABLE();
  __HAL_RCC_DMA1_CLK_ENABLE();

  /* DMA interrupt init */
  /* DMA1_Channel1_IRQn interrupt configuration */
  HAL_NVIC_SetPriority(DMA1_Channel1_IRQn, 5, 0);
  HAL_NVIC_EnableIRQ(DMA1_Channel1_IRQn);

}

static void MX_GPIO_Init(void)
{
  GPIO_InitTypeDef GPIO_InitStruct = {0};

  /* GPIO Ports Clock Enable */
  __HAL_RCC_GPIOF_CLK_ENABLE();
  __HAL_RCC_GPIOC_CLK_ENABLE();
  __HAL_RCC_GPIOA_CLK_ENABLE();
  __HAL_RCC_GPIOB_CLK_ENABLE();
  __HAL_RCC_GPIOD_CLK_ENABLE();

  /*Configure GPIO pin Output Level */
  HAL_GPIO_WritePin(GPIOA, SHIFTREG_Latch_Pin|SHIFTREG_Clock_Pin|SHIFTREG_Data_Pin, GPIO_PIN_RESET);

  /*Configure GPIO pin Output Level */
  HAL_GPIO_WritePin(GPIOB, LED_Latch_Pin|LDAC0_Pin, GPIO_PIN_RESET);

  /*Configure GPIO pin Output Level */
  HAL_GPIO_WritePin(GPIOC, LDAC4_Pin|LDAC3_Pin|LDAC2_Pin, GPIO_PIN_RESET);

  /*Configure GPIO pin Output Level */
  HAL_GPIO_WritePin(LDAC1_GPIO_Port, LDAC1_Pin, GPIO_PIN_RESET);

  /*Configure GPIO pins : SHIFTREG_Latch_Pin SHIFTREG_Clock_Pin SHIFTREG_Data_Pin */
  GPIO_InitStruct.Pin = SHIFTREG_Latch_Pin|SHIFTREG_Clock_Pin|SHIFTREG_Data_Pin;
  GPIO_InitStruct.Mode = GPIO_MODE_OUTPUT_PP;
  GPIO_InitStruct.Pull = GPIO_NOPULL;
  GPIO_InitStruct.Speed = GPIO_SPEED_FREQ_LOW;
  HAL_GPIO_Init(GPIOA, &GPIO_InitStruct);

  /*Configure GPIO pin : F3_Touch_Pin */
  GPIO_InitStruct.Pin = F3_Touch_Pin;
  GPIO_InitStruct.Mode = GPIO_MODE_INPUT;
  GPIO_InitStruct.Pull = GPIO_NOPULL;
  HAL_GPIO_Init(F3_Touch_GPIO_Port, &GPIO_InitStruct);

  /*Configure GPIO pins : F2_Touch_Pin F1_Touch_Pin SPI1_CS_IN_Pin */
  GPIO_InitStruct.Pin = F2_Touch_Pin|F1_Touch_Pin|SPI1_CS_IN_Pin;
  GPIO_InitStruct.Mode = GPIO_MODE_INPUT;
  GPIO_InitStruct.Pull = GPIO_NOPULL;
  HAL_GPIO_Init(GPIOB, &GPIO_InitStruct);

  /*Configure GPIO pins : LED_Latch_Pin LDAC0_Pin */
  GPIO_InitStruct.Pin = LED_Latch_Pin|LDAC0_Pin;
  GPIO_InitStruct.Mode = GPIO_MODE_OUTPUT_PP;
  GPIO_InitStruct.Pull = GPIO_NOPULL;
  GPIO_InitStruct.Speed = GPIO_SPEED_FREQ_LOW;
  HAL_GPIO_Init(GPIOB, &GPIO_InitStruct);

  /*Configure GPIO pin : F0_Touch_Pin */
  GPIO_InitStruct.Pin = F0_Touch_Pin;
  GPIO_InitStruct.Mode = GPIO_MODE_INPUT;
  GPIO_InitStruct.Pull = GPIO_NOPULL;
  HAL_GPIO_Init(F0_Touch_GPIO_Port, &GPIO_InitStruct);

  /*Configure GPIO pins : LDAC4_Pin LDAC3_Pin LDAC2_Pin */
  GPIO_InitStruct.Pin = LDAC4_Pin|LDAC3_Pin|LDAC2_Pin;
  GPIO_InitStruct.Mode = GPIO_MODE_OUTPUT_PP;
  GPIO_InitStruct.Pull = GPIO_NOPULL;
  GPIO_InitStruct.Speed = GPIO_SPEED_FREQ_LOW;
  HAL_GPIO_Init(GPIOC, &GPIO_InitStruct);

  /*Configure GPIO pin : LDAC1_Pin */
  GPIO_InitStruct.Pin = LDAC1_Pin;
  GPIO_InitStruct.Mode = GPIO_MODE_OUTPUT_PP;
  GPIO_InitStruct.Pull = GPIO_NOPULL;
  GPIO_InitStruct.Speed = GPIO_SPEED_FREQ_LOW;
  HAL_GPIO_Init(LDAC1_GPIO_Port, &GPIO_InitStruct);

}

void StartDefaultTask(void *argument)
{
  /* USER CODE BEGIN 5 */

  // i2c_channel_bb_claim(0);
  /*mcp4728_init_address(
    I2C1_Clock_GPIO_Port, // Clock port
    I2C1_Clock_Pin, // Clock pin
    I2C1_Data_GPIO_Port, // Data port
    I2C1_Data_Pin, // Data pin
    LDAC0_GPIO_Port, // ldac port
    LDAC0_Pin, // ldac pin
    0x62 // New addr
  );*/
  // i2c_channel_bb_release(0);

  for (;;) // this MUST STAY
  {
    vTaskDelay(portMAX_DELAY);
  }

  /* USER CODE END 5 */
}

void HAL_TIM_PeriodElapsedCallback(TIM_HandleTypeDef *htim)
{
  if (htim->Instance == TIM7)
  {
    HAL_IncTick();
  }
  /* USER CODE BEGIN Callback 1 */

  // I2C Scheduler
  else if (htim->Instance == TIM4){
    i2c_scheduler_trigger_frame();
    fader_poller_trigger_frame();
  }

  // skylar (adding the ISR for LED handler)
  else if (htim->Instance == TIM5)
  {
    led_handler_notify_from_isr();
  }

  /* USER CODE END Callback 1 */
}

void Error_Handler(void)
{
  /* USER CODE BEGIN Error_Handler_Debug */
  printf("\r\nError!!!!!!!!!!\n");
  __disable_irq();
  while (1)
  {
  }
  /* USER CODE END Error_Handler_Debug */
}
